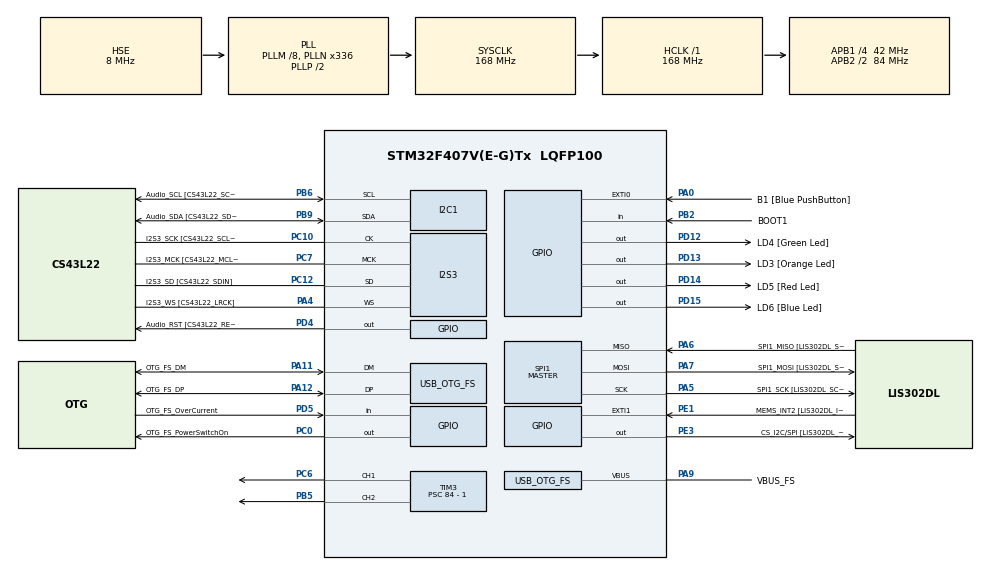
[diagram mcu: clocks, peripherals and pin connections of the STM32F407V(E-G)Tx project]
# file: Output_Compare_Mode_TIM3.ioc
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I2S3.AudioFreq-Half_Duplex_Master=I2S_AUDIOFREQ_96K
I2S3.ErrorAudioFreq=-2.34 %
I2S3.ErrorAudioFreq-Half_Duplex_Master=0.8 %
I2S3.FullDuplexMode=I2S_FULLDUPLEXMODE_DISABLE
I2S3.Instance=SPI$Index
I2S3.RealAudioFreq=93.75 KHz
I2S3.RealAudioFreq-Half_Duplex_Master=96.774 KHz
I2S3.VirtualMode=I2S_MODE_MASTER
Mcu.Family=STM32F4
Mcu.Name=STM32F407V(E-G)Tx
Mcu.Package=LQFP100
NVIC.OTG_FS_IRQn=true\:0\:0\:false\:false\:true\:true\:true\:true
NVIC.PriorityGroup=NVIC_PRIORITYGROUP_0
NVIC.TIM3_IRQn=true\:0\:0\:false\:false\:true\:true\:true\:true
PA0-WKUP.GPIO_Label=B1 [Blue PushButton]
PA0-WKUP.GPIO_ModeDefaultEXTI=GPIO_MODE_EVT_RISING
PA0-WKUP.GPIO_PuPd=GPIO_NOPULL
PA0-WKUP.Signal=GPXTI0
PA10.GPIO_Label=OTG_FS_ID
PA10.GPIO_Mode=GPIO_MODE_AF_PP
PA10.GPIO_PuPd=GPIO_NOPULL
PA10.GPIO_Speed=GPIO_SPEED_FREQ_LOW
PA10.Signal=USB_OTG_FS_ID
PA11.GPIO_Label=OTG_FS_DM
PA11.GPIO_Mode=GPIO_MODE_AF_PP
PA11.GPIO_PuPd=GPIO_NOPULL
PA11.GPIO_Speed=GPIO_SPEED_FREQ_LOW
PA11.Mode=Host_Only
PA11.Signal=USB_OTG_FS_DM
PA12.GPIO_Label=OTG_FS_DP
PA12.GPIO_Mode=GPIO_MODE_AF_PP
PA12.GPIO_PuPd=GPIO_NOPULL
PA12.GPIO_Speed=GPIO_SPEED_FREQ_LOW
PA12.Mode=Host_Only
PA12.Signal=USB_OTG_FS_DP
PA13.GPIO_Label=SWDIO
PA13.Mode=Serial_Wire
PA13.Signal=SYS_JTMS-SWDIO
PA14.GPIO_Label=SWCLK
PA14.Mode=Serial_Wire
PA14.Signal=SYS_JTCK-SWCLK
PA4.GPIO_Label=I2S3_WS [CS43L22_LRCK]
PA4.GPIO_Mode=GPIO_MODE_AF_PP
PA4.GPIO_PuPd=GPIO_NOPULL
PA4.GPIO_Speed=GPIO_SPEED_FREQ_LOW
PA4.Mode=Half_Duplex_Master
PA4.Signal=I2S3_WS
PA5.GPIO_Label=SPI1_SCK [LIS302DL_SCL/SPC]
PA5.GPIO_Mode=GPIO_MODE_AF_PP
PA5.GPIO_PuPd=GPIO_NOPULL
PA5.GPIO_Speed=GPIO_SPEED_FREQ_LOW
PA5.Mode=Full_Duplex_Master
PA5.Signal=SPI1_SCK
PA6.GPIO_Label=SPI1_MISO [LIS302DL_SDO]
PA6.GPIO_Mode=GPIO_MODE_AF_PP
PA6.GPIO_PuPd=GPIO_NOPULL
PA6.GPIO_Speed=GPIO_SPEED_FREQ_LOW
PA6.Mode=Full_Duplex_Master
PA6.Signal=SPI1_MISO
PA7.GPIO_Label=SPI1_MOSI [LIS302DL_SDA/SDI/SDO]
PA7.GPIO_Mode=GPIO_MODE_AF_PP
PA7.GPIO_PuPd=GPIO_NOPULL
PA7.GPIO_Speed=GPIO_SPEED_FREQ_LOW
PA7.Mode=Full_Duplex_Master
PA7.Signal=SPI1_MOSI
PA9.GPIO_Label=VBUS_FS
PA9.GPIO_Mode=GPIO_MODE_INPUT
PA9.GPIO_PuPd=GPIO_NOPULL
PA9.Mode=Activate_VBUS
PA9.Signal=USB_OTG_FS_VBUS
PB10.GPIO_Label=CLK_IN [MP45DT02_CLK]
PB10.GPIO_Mode=GPIO_MODE_AF_PP
PB10.GPIO_PuPd=GPIO_NOPULL
PB10.GPIO_Speed=GPIO_SPEED_FREQ_LOW
PB10.Signal=I2S2_CK
PB2.GPIO_Label=BOOT1
PB2.GPIO_Mode=GPIO_MODE_INPUT
PB2.GPIO_PuPd=GPIO_NOPULL
PB2.Signal=GPIO_Input
PB3.GPIO_Label=SWO
PB3.Signal=SYS_JTDO-SWO
PB5.Signal=S_TIM3_CH2
PB6.GPIO_Label=Audio_SCL [CS43L22_SCL]
PB6.GPIO_Mode=GPIO_MODE_AF_OD
PB6.GPIO_Pu=GPIO_PULLUP
PB6.GPIO_PuPd=GPIO_NOPULL
PB6.GPIO_Speed=GPIO_SPEED_FREQ_LOW
PB6.Mode=I2C
PB6.Signal=I2C1_SCL
PB9.GPIO_Label=Audio_SDA [CS43L22_SDA]
PB9.GPIO_Mode=GPIO_MODE_AF_OD
PB9.GPIO_Pu=GPIO_PULLUP
PB9.GPIO_PuPd=GPIO_NOPULL
PB9.GPIO_Speed=GPIO_SPEED_FREQ_LOW
PB9.Mode=I2C
PB9.Signal=I2C1_SDA
PC0.GPIO_Label=OTG_FS_PowerSwitchOn
PC0.GPIO_PuPd=GPIO_NOPULL
PC0.GPIO_Speed=GPIO_SPEED_FREQ_LOW
PC0.PinState=GPIO_PIN_SET
PC0.Signal=GPIO_Output
PC10.GPIO_Label=I2S3_SCK [CS43L22_SCLK]
PC10.GPIO_Mode=GPIO_MODE_AF_PP
PC10.GPIO_PuPd=GPIO_NOPULL
PC10.GPIO_Speed=GPIO_SPEED_FREQ_LOW
PC10.Mode=Half_Duplex_Master
PC10.Signal=I2S3_CK
PC12.GPIO_Label=I2S3_SD [CS43L22_SDIN]
PC12.GPIO_Mode=GPIO_MODE_AF_PP
PC12.GPIO_PuPd=GPIO_NOPULL
PC12.GPIO_Speed=GPIO_SPEED_FREQ_LOW
PC12.Mode=Half_Duplex_Master
PC12.Signal=I2S3_SD
PC14-OSC32_IN.GPIO_Label=PC14-OSC32_IN
PC14-OSC32_IN.Mode=LSE-External-Oscillator
PC14-OSC32_IN.Signal=RCC_OSC32_IN
PC15-OSC32_OUT.GPIO_Label=PC15-OSC32_OUT
PC15-OSC32_OUT.Mode=LSE-External-Oscillator
PC15-OSC32_OUT.Signal=RCC_OSC32_OUT
PC3.GPIO_Label=PDM_OUT [MP45DT02_DOUT]
PC3.GPIO_Mode=GPIO_MODE_AF_PP
PC3.GPIO_PuPd=GPIO_NOPULL
PC3.GPIO_Speed=GPIO_SPEED_FREQ_LOW
PC3.Signal=I2S2_SD
PC6.Signal=S_TIM3_CH1
PC7.GPIO_Label=I2S3_MCK [CS43L22_MCLK]
PC7.GPIO_Mode=GPIO_MODE_AF_PP
PC7.GPIO_PuPd=GPIO_NOPULL
PC7.GPIO_Speed=GPIO_SPEED_FREQ_LOW
PC7.Mode=Master_Clock_Activated
PC7.Signal=I2S3_MCK
PD12.GPIO_Label=LD4 [Green Led]
PD12.GPIO_PuPd=GPIO_NOPULL
PD12.GPIO_Speed=GPIO_SPEED_FREQ_LOW
PD12.Signal=GPIO_Output
PD13.GPIO_Label=LD3 [Orange Led]
PD13.GPIO_PuPd=GPIO_NOPULL
PD13.GPIO_Speed=GPIO_SPEED_FREQ_LOW
PD13.Signal=GPIO_Output
PD14.GPIO_Label=LD5 [Red Led]
PD14.GPIO_PuPd=GPIO_NOPULL
PD14.GPIO_Speed=GPIO_SPEED_FREQ_LOW
PD14.Signal=GPIO_Output
PD15.GPIO_Label=LD6 [Blue Led]
PD15.GPIO_PuPd=GPIO_NOPULL
PD15.GPIO_Speed=GPIO_SPEED_FREQ_LOW
PD15.Signal=GPIO_Output
PD4.GPIO_Label=Audio_RST [CS43L22_RESET]
PD4.GPIO_PuPd=GPIO_NOPULL
PD4.GPIO_Speed=GPIO_SPEED_FREQ_LOW
PD4.Signal=GPIO_Output
PD5.GPIO_Label=OTG_FS_OverCurrent
PD5.GPIO_Mode=GPIO_MODE_INPUT
PD5.GPIO_PuPd=GPIO_NOPULL
PD5.Signal=GPIO_Input
PE1.GPIO_Label=MEMS_INT2 [LIS302DL_INT2]
PE1.GPIO_ModeDefaultEXTI=GPIO_MODE_EVT_RISING
PE1.GPIO_PuPd=GPIO_NOPULL
PE1.Signal=GPXTI1
PE3.GPIO_Label=CS_I2C/SPI [LIS302DL_CS_I2C/SPI]
PE3.GPIO_PuPd=GPIO_NOPULL
PE3.GPIO_Speed=GPIO_SPEED_FREQ_LOW
PE3.Signal=GPIO_Output
PH0-OSC_IN.GPIO_Label=PH0-OSC_IN
PH0-OSC_IN.Mode=HSE-External-Oscillator
PH0-OSC_IN.Signal=RCC_OSC_IN
PH1-OSC_OUT.GPIO_Label=PH1-OSC_OUT
PH1-OSC_OUT.Mode=HSE-External-Oscillator
PH1-OSC_OUT.Signal=RCC_OSC_OUT
ProjectManager.HeapSize=0x200
ProjectManager.StackSize=0x400
ProjectManager.TargetToolchain=STM32CubeIDE
RCC.48MHZClocksFreq_Value=48000000
RCC.AHBFreq_Value=168000000
RCC.APB1CLKDivider=RCC_HCLK_DIV4
RCC.APB1Freq_Value=42000000
RCC.APB1TimFreq_Value=84000000
RCC.APB2CLKDivider=RCC_HCLK_DIV2
RCC.APB2Freq_Value=84000000
RCC.APB2TimFreq_Value=168000000
RCC.CortexFreq_Value=168000000
RCC.HCLKFreq_Value=168000000
RCC.HSE_VALUE=8000000
RCC.HSI_VALUE=16000000
RCC.PLLM=8
RCC.PLLN=336
RCC.PLLQ=7
RCC.SYSCLKFreq_VALUE=168000000
RCC.SYSCLKSource=RCC_SYSCLKSOURCE_PLLCLK
RCC.VCOOutputFreq_Value=336000000
SH.S_TIM3_CH1.0=TIM3_CH1,Output Compare1 CH1
SH.S_TIM3_CH2.0=TIM3_CH2,Output Compare2 CH2
SPI1.BaudRatePrescaler-Full_Duplex_Master=SPI_BAUDRATEPRESCALER_2
SPI1.CalculateBaudRate-Full_Duplex_Master=42.0 MBits/s
SPI1.Direction=SPI_DIRECTION_2LINES
SPI1.Mode=SPI_MODE_MASTER
SPI1.Mode-Full_Duplex_Master=SPI_MODE_MASTER
SPI1.VirtualType=VM_MASTER
TIM3.Channel-Output\ Compare1\ CH1=TIM_CHANNEL_1
TIM3.Channel-Output\ Compare2\ CH2=TIM_CHANNEL_2
TIM3.OCMode_1=TIM_OCMODE_TOGGLE
TIM3.OCMode_2=TIM_OCMODE_TOGGLE
TIM3.Prescaler=84 - 1
USB_HOST.BSP.number=1
USB_HOST.USBH_HandleTypeDef-CDC_FS=hUsbHostFS
USB_HOST.VirtualModeFS=Cdc
USB_HOST0.BSP.STBoard=false
USB_HOST0.BSP.api=Unknown
USB_HOST0.BSP.instance=PC0
USB_HOST0.BSP.ip=GPIO
USB_HOST0.BSP.mode=Output
USB_HOST0.BSP.name=Drive_VBUS_FS
USB_HOST0.BSP.solution=PC0
USB_OTG_FS.VirtualMode=Host_Only
USB_OTG_FS.phy_itface=HCD_PHY_EMBEDDED
VP_TIM3_VS_ClockSourceINT.Mode=Internal
VP_USB_HOST_VS_USB_HOST_CDC_FS.Mode=CDC_FS
board=STM32F407G-DISC1

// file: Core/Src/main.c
/* USER CODE BEGIN Header */
/**
  ******************************************************************************
  * @file           : main.c
  * @brief          : Main program body
  ******************************************************************************
  * @attention
  *
  * Copyright (c) 2026 STMicroelectronics.
  * All rights reserved.
  *
  * This software is licensed under terms that can be found in the LICENSE file
  * in the root directory of this software component.
  * If no LICENSE file comes with this software, it is provided AS-IS.
  *
  ******************************************************************************
  */
/* USER CODE END Header */
#include "main.h"
#include "usb_host.h"

I2C_HandleTypeDef hi2c1;

I2S_HandleTypeDef hi2s3;

SPI_HandleTypeDef hspi1;

TIM_HandleTypeDef htim3;

/* USER CODE BEGIN PV */
/*
* volatile: Because these variables will be used within the hardware interrupt,
* this prevents the compiler from optimizing and deleting these variables.
*
* CH1_FREQ = 10; -> The half-period required for the PC6 pin to generate a 50kHz square wave.
* We will reverse the pin's state (0->1 or 1->0) every 10 microseconds.
*/
volatile uint16_t CH1_FREQ = 10;

/*
* CH2_FREQ = 50; -> The half-period required for the PB5 pin to generate a 10kHz square wave.
* We will reverse the pin's state every 50 microseconds.
*/
volatile uint16_t CH2_FREQ = 50;
/* USER CODE END PV */

void SystemClock_Config(void);
static void MX_GPIO_Init(void);
static void MX_I2C1_Init(void);
static void MX_I2S3_Init(void);
static void MX_SPI1_Init(void);
static void MX_TIM3_Init(void);
void MX_USB_HOST_Process(void);

int main(void)
{

  /* MCU Configuration--------------------------------------------------------*/

  /* Reset of all peripherals, Initializes the Flash interface and the Systick. */
  HAL_Init();

  /* Configure the system clock */
  SystemClock_Config();

  /* Initialize all configured peripherals */
  MX_GPIO_Init();
  MX_I2C1_Init();
  MX_I2S3_Init();
  MX_SPI1_Init();
  MX_TIM3_Init();
  MX_USB_HOST_Init();
  /* USER CODE BEGIN 2 */
  /*
  * Start Channel 1 (PC6) of TIM3 in Output Compare mode.
  * The "_IT" extension means Interrupt. The program will automatically jump to the following Callback function whenever the pin state changes.
  */
    HAL_TIM_OC_Start_IT(&htim3, TIM_CHANNEL_1);

    /*
    * Similarly, start Channel 2 (PB5) of TIM3 in Output Compare mode.
    */
    HAL_TIM_OC_Start_IT(&htim3, TIM_CHANNEL_2);
  /* USER CODE END 2 */

  /* Infinite loop */
  while (1)
  {
    MX_USB_HOST_Process();

  }
}

void SystemClock_Config(void)
{
  RCC_OscInitTypeDef RCC_OscInitStruct = {0};
  RCC_ClkInitTypeDef RCC_ClkInitStruct = {0};

  /** Configure the main internal regulator output voltage
  */
  __HAL_RCC_PWR_CLK_ENABLE();
  __HAL_PWR_VOLTAGESCALING_CONFIG(PWR_REGULATOR_VOLTAGE_SCALE1);

  /** Initializes the RCC Oscillators according to the specified parameters
  * in the RCC_OscInitTypeDef structure.
  */
  RCC_OscInitStruct.OscillatorType = RCC_OSCILLATORTYPE_HSE;
  RCC_OscInitStruct.HSEState = RCC_HSE_ON;
  RCC_OscInitStruct.PLL.PLLState = RCC_PLL_ON;
  RCC_OscInitStruct.PLL.PLLSource = RCC_PLLSOURCE_HSE;
  RCC_OscInitStruct.PLL.PLLM = 8;
  RCC_OscInitStruct.PLL.PLLN = 336;
  RCC_OscInitStruct.PLL.PLLP = RCC_PLLP_DIV2;
  RCC_OscInitStruct.PLL.PLLQ = 7;
  if (HAL_RCC_OscConfig(&RCC_OscInitStruct) != HAL_OK)
  {
    Error_Handler();
  }

  /** Initializes the CPU, AHB and APB buses clocks
  */
  RCC_ClkInitStruct.ClockType = RCC_CLOCKTYPE_HCLK|RCC_CLOCKTYPE_SYSCLK
                              |RCC_CLOCKTYPE_PCLK1|RCC_CLOCKTYPE_PCLK2;
  RCC_ClkInitStruct.SYSCLKSource = RCC_SYSCLKSOURCE_PLLCLK;
  RCC_ClkInitStruct.AHBCLKDivider = RCC_SYSCLK_DIV1;
  RCC_ClkInitStruct.APB1CLKDivider = RCC_HCLK_DIV4;
  RCC_ClkInitStruct.APB2CLKDivider = RCC_HCLK_DIV2;

  if (HAL_RCC_ClockConfig(&RCC_ClkInitStruct, FLASH_LATENCY_5) != HAL_OK)
  {
    Error_Handler();
  }
}

static void MX_I2C1_Init(void)
{

  hi2c1.Instance = I2C1;
  hi2c1.Init.ClockSpeed = 100000;
  hi2c1.Init.DutyCycle = I2C_DUTYCYCLE_2;
  hi2c1.Init.OwnAddress1 = 0;
  hi2c1.Init.AddressingMode = I2C_ADDRESSINGMODE_7BIT;
  hi2c1.Init.DualAddressMode = I2C_DUALADDRESS_DISABLE;
  hi2c1.Init.OwnAddress2 = 0;
  hi2c1.Init.GeneralCallMode = I2C_GENERALCALL_DISABLE;
  hi2c1.Init.NoStretchMode = I2C_NOSTRETCH_DISABLE;
  if (HAL_I2C_Init(&hi2c1) != HAL_OK)
  {
    Error_Handler();
  }

}

static void MX_I2S3_Init(void)
{

  hi2s3.Instance = SPI3;
  hi2s3.Init.Mode = I2S_MODE_MASTER_TX;
  hi2s3.Init.Standard = I2S_STANDARD_PHILIPS;
  hi2s3.Init.DataFormat = I2S_DATAFORMAT_16B;
  hi2s3.Init.MCLKOutput = I2S_MCLKOUTPUT_ENABLE;
  hi2s3.Init.AudioFreq = I2S_AUDIOFREQ_96K;
  hi2s3.Init.CPOL = I2S_CPOL_LOW;
  hi2s3.Init.ClockSource = I2S_CLOCK_PLL;
  hi2s3.Init.FullDuplexMode = I2S_FULLDUPLEXMODE_DISABLE;
  if (HAL_I2S_Init(&hi2s3) != HAL_OK)
  {
    Error_Handler();
  }

}

static void MX_SPI1_Init(void)
{

  /* SPI1 parameter configuration*/
  hspi1.Instance = SPI1;
  hspi1.Init.Mode = SPI_MODE_MASTER;
  hspi1.Init.Direction = SPI_DIRECTION_2LINES;
  hspi1.Init.DataSize = SPI_DATASIZE_8BIT;
  hspi1.Init.CLKPolarity = SPI_POLARITY_LOW;
  hspi1.Init.CLKPhase = SPI_PHASE_1EDGE;
  hspi1.Init.NSS = SPI_NSS_SOFT;
  hspi1.Init.BaudRatePrescaler = SPI_BAUDRATEPRESCALER_2;
  hspi1.Init.FirstBit = SPI_FIRSTBIT_MSB;
  hspi1.Init.TIMode = SPI_TIMODE_DISABLE;
  hspi1.Init.CRCCalculation = SPI_CRCCALCULATION_DISABLE;
  hspi1.Init.CRCPolynomial = 10;
  if (HAL_SPI_Init(&hspi1) != HAL_OK)
  {
    Error_Handler();
  }

}

static void MX_TIM3_Init(void)
{

  TIM_ClockConfigTypeDef sClockSourceConfig = {0};
  TIM_MasterConfigTypeDef sMasterConfig = {0};
  TIM_OC_InitTypeDef sConfigOC = {0};

  htim3.Instance = TIM3;
  htim3.Init.Prescaler = 84 - 1;
  htim3.Init.CounterMode = TIM_COUNTERMODE_UP;
  htim3.Init.Period = 65535;
  htim3.Init.ClockDivision = TIM_CLOCKDIVISION_DIV1;
  htim3.Init.AutoReloadPreload = TIM_AUTORELOAD_PRELOAD_DISABLE;
  if (HAL_TIM_Base_Init(&htim3) != HAL_OK)
  {
    Error_Handler();
  }
  sClockSourceConfig.ClockSource = TIM_CLOCKSOURCE_INTERNAL;
  if (HAL_TIM_ConfigClockSource(&htim3, &sClockSourceConfig) != HAL_OK)
  {
    Error_Handler();
  }
  if (HAL_TIM_OC_Init(&htim3) != HAL_OK)
  {
    Error_Handler();
  }
  sMasterConfig.MasterOutputTrigger = TIM_TRGO_RESET;
  sMasterConfig.MasterSlaveMode = TIM_MASTERSLAVEMODE_DISABLE;
  if (HAL_TIMEx_MasterConfigSynchronization(&htim3, &sMasterConfig) != HAL_OK)
  {
    Error_Handler();
  }
  sConfigOC.OCMode = TIM_OCMODE_TOGGLE;
  sConfigOC.Pulse = 0;
  sConfigOC.OCPolarity = TIM_OCPOLARITY_HIGH;
  sConfigOC.OCFastMode = TIM_OCFAST_DISABLE;
  if (HAL_TIM_OC_ConfigChannel(&htim3, &sConfigOC, TIM_CHANNEL_1) != HAL_OK)
  {
    Error_Handler();
  }
  if (HAL_TIM_OC_ConfigChannel(&htim3, &sConfigOC, TIM_CHANNEL_2) != HAL_OK)
  {
    Error_Handler();
  }
  HAL_TIM_MspPostInit(&htim3);

}

static void MX_GPIO_Init(void)
{
  GPIO_InitTypeDef GPIO_InitStruct = {0};

  /* GPIO Ports Clock Enable */
  __HAL_RCC_GPIOE_CLK_ENABLE();
  __HAL_RCC_GPIOC_CLK_ENABLE();
  __HAL_RCC_GPIOH_CLK_ENABLE();
  __HAL_RCC_GPIOA_CLK_ENABLE();
  __HAL_RCC_GPIOB_CLK_ENABLE();
  __HAL_RCC_GPIOD_CLK_ENABLE();

  /*Configure GPIO pin Output Level */
  HAL_GPIO_WritePin(CS_I2C_SPI_GPIO_Port, CS_I2C_SPI_Pin, GPIO_PIN_RESET);

  /*Configure GPIO pin Output Level */
  HAL_GPIO_WritePin(OTG_FS_PowerSwitchOn_GPIO_Port, OTG_FS_PowerSwitchOn_Pin, GPIO_PIN_SET);

  /*Configure GPIO pin Output Level */
  HAL_GPIO_WritePin(GPIOD, LD4_Pin|LD3_Pin|LD5_Pin|LD6_Pin
                          |Audio_RST_Pin, GPIO_PIN_RESET);

  /*Configure GPIO pin : CS_I2C_SPI_Pin */
  GPIO_InitStruct.Pin = CS_I2C_SPI_Pin;
  GPIO_InitStruct.Mode = GPIO_MODE_OUTPUT_PP;
  GPIO_InitStruct.Pull = GPIO_NOPULL;
  GPIO_InitStruct.Speed = GPIO_SPEED_FREQ_LOW;
  HAL_GPIO_Init(CS_I2C_SPI_GPIO_Port, &GPIO_InitStruct);

  /*Configure GPIO pin : OTG_FS_PowerSwitchOn_Pin */
  GPIO_InitStruct.Pin = OTG_FS_PowerSwitchOn_Pin;
  GPIO_InitStruct.Mode = GPIO_MODE_OUTPUT_PP;
  GPIO_InitStruct.Pull = GPIO_NOPULL;
  GPIO_InitStruct.Speed = GPIO_SPEED_FREQ_LOW;
  HAL_GPIO_Init(OTG_FS_PowerSwitchOn_GPIO_Port, &GPIO_InitStruct);

  /*Configure GPIO pin : PDM_OUT_Pin */
  GPIO_InitStruct.Pin = PDM_OUT_Pin;
  GPIO_InitStruct.Mode = GPIO_MODE_AF_PP;
  GPIO_InitStruct.Pull = GPIO_NOPULL;
  GPIO_InitStruct.Speed = GPIO_SPEED_FREQ_LOW;
  GPIO_InitStruct.Alternate = GPIO_AF5_SPI2;
  HAL_GPIO_Init(PDM_OUT_GPIO_Port, &GPIO_InitStruct);

  /*Configure GPIO pin : B1_Pin */
  GPIO_InitStruct.Pin = B1_Pin;
  GPIO_InitStruct.Mode = GPIO_MODE_EVT_RISING;
  GPIO_InitStruct.Pull = GPIO_NOPULL;
  HAL_GPIO_Init(B1_GPIO_Port, &GPIO_InitStruct);

  /*Configure GPIO pin : BOOT1_Pin */
  GPIO_InitStruct.Pin = BOOT1_Pin;
  GPIO_InitStruct.Mode = GPIO_MODE_INPUT;
  GPIO_InitStruct.Pull = GPIO_NOPULL;
  HAL_GPIO_Init(BOOT1_GPIO_Port, &GPIO_InitStruct);

  /*Configure GPIO pin : CLK_IN_Pin */
  GPIO_InitStruct.Pin = CLK_IN_Pin;
  GPIO_InitStruct.Mode = GPIO_MODE_AF_PP;
  GPIO_InitStruct.Pull = GPIO_NOPULL;
  GPIO_InitStruct.Speed = GPIO_SPEED_FREQ_LOW;
  GPIO_InitStruct.Alternate = GPIO_AF5_SPI2;
  HAL_GPIO_Init(CLK_IN_GPIO_Port, &GPIO_InitStruct);

  /*Configure GPIO pins : LD4_Pin LD3_Pin LD5_Pin LD6_Pin
                           Audio_RST_Pin */
  GPIO_InitStruct.Pin = LD4_Pin|LD3_Pin|LD5_Pin|LD6_Pin
                          |Audio_RST_Pin;
  GPIO_InitStruct.Mode = GPIO_MODE_OUTPUT_PP;
  GPIO_InitStruct.Pull = GPIO_NOPULL;
  GPIO_InitStruct.Speed = GPIO_SPEED_FREQ_LOW;
  HAL_GPIO_Init(GPIOD, &GPIO_InitStruct);

  /*Configure GPIO pin : OTG_FS_OverCurrent_Pin */
  GPIO_InitStruct.Pin = OTG_FS_OverCurrent_Pin;
  GPIO_InitStruct.Mode = GPIO_MODE_INPUT;
  GPIO_InitStruct.Pull = GPIO_NOPULL;
  HAL_GPIO_Init(OTG_FS_OverCurrent_GPIO_Port, &GPIO_InitStruct);

  /*Configure GPIO pin : MEMS_INT2_Pin */
  GPIO_InitStruct.Pin = MEMS_INT2_Pin;
  GPIO_InitStruct.Mode = GPIO_MODE_EVT_RISING;
  GPIO_InitStruct.Pull = GPIO_NOPULL;
  HAL_GPIO_Init(MEMS_INT2_GPIO_Port, &GPIO_InitStruct);

}

/* USER CODE BEGIN 4 */

/**
  * @The brief timer is automatically triggered when the Output Compare target value is reached.
  * @param htim: A structure that specifies which timer triggered the interrupt.
  */
void HAL_TIM_OC_DelayElapsedCallback(TIM_HandleTypeDef *htim) {

  uint32_t pulse; // We will use this to store the current counter value in memory.

  // We are reading the Period (ARR) limit value of our timer (we set it to 65535 in CubeMX)
  uint16_t arr = __HAL_TIM_GET_AUTORELOAD(htim);

  /* Make sure only TIM3 creates the interrupt, not another timer */
  if (htim->Instance == TIM3) {

    // =====================================================================
    // CHANNEL 1 CONTROL (PC6 PIN) - 50kHz TARGET
    // =====================================================================
    if (htim->Channel == HAL_TIM_ACTIVE_CHANNEL_1) {

      //Read the timer value at the moment when Pi last changed its state.
      pulse = HAL_TIM_ReadCapturedValue(htim, TIM_CHANNEL_1);

      /* LOGIC: The next pin change will occur after (Current moment + 10 microseconds).
       * If this new number does not exceed 65535, then add it as usual.
       */
      if ((pulse + CH1_FREQ) < arr) {
        // Set the next target value (Compare Register)
        __HAL_TIM_SET_COMPARE(htim, TIM_CHANNEL_1, (pulse + CH1_FREQ));
      }
      /* If the new number exceeds the 65535 limit, the counter will reset to the beginning (0).
       * Therefore, by removing the period, we ensure that the target resets to the beginning.
       */
      else {
        __HAL_TIM_SET_COMPARE(htim, TIM_CHANNEL_1, (pulse + CH1_FREQ) - arr);
      }
    }

    // =====================================================================
    // CHANNEL 2 CONTROL (PB5 PIN) - 10kHz TARGET
    // =====================================================================
    if (htim->Channel == HAL_TIM_ACTIVE_CHANNEL_2) {

      // Read the moment when the PB5 pin last changed its state.
      pulse = HAL_TIM_ReadCapturedValue(htim, TIM_CHANNEL_2);

      /* The next change will occur (Current moment + 50 microseconds). */
      if ((pulse + CH2_FREQ) < arr) {
        __HAL_TIM_SET_COMPARE(htim, TIM_CHANNEL_2, (pulse + CH2_FREQ));
      }
      else {
        __HAL_TIM_SET_COMPARE(htim, TIM_CHANNEL_2, (pulse + CH2_FREQ) - arr);
      }
    }
  }
}

/* USER CODE END 4 */

void Error_Handler(void)
{
  __disable_irq();
  while (1)
  {
  }
}
